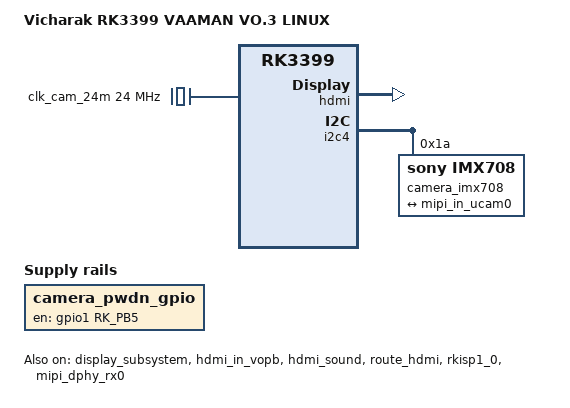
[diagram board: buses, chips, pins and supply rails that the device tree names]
// SPDX-License-Identifier: (GPL-2.0+ OR MIT)
/*
 * Copyright (C) 2023 Vicharak Computers LLP
 */

/dts-v1/;

#include "rk3399-vaaman.dtsi"
#include "rk3399-linux.dtsi"

/ {
	model = "Vicharak RK3399 VAAMAN VO.3 LINUX";
	compatible = "vicharak,rk3399-vaaman", "rockchip,rk3399";

	//chosen {
	//	bootargs = "earlycon=uart8250,mmio32,0xff1a0000 console=ttyFIQ0 earlyprintk loglevel=7 coherent_pool=1m";
	//};

	clk_cam_24m: clk-cam-24m {
		compatible = "fixed-clock";
		clock-frequency = <24000000>;
		clock-output-names = "inclk";
		#clock-cells = <0>;
		status = "okay";
	};

	camera_pwdn_gpio: camera-pwdn-gpio {
		status = "okay";
		compatible = "regulator-fixed";
		regulator-name = "camera_pwdn_gpio";
		regulator-always-on;
		regulator-boot-on;
		enable-active-high;
		gpio = <&gpio1 RK_PB5 GPIO_ACTIVE_HIGH>;
		pinctrl-names = "default";
		pinctrl-0 = <&cam_pwdn_gpio>;
	};
};

&display_subsystem {
	status = "okay";
};

&fiq_debugger {
	rockchip,irq-mode-enable = <0>;
};

&uart2 {
	status = "disabled";
};

&hdmi {
	status = "okay";
};

&hdmi_in_vopb {
	status = "okay";
};

&hdmi_in_vopl {
	status = "disabled";
};

&hdmi_sound {
	status = "okay";
};

&route_hdmi {
	connect = <&vopb_out_hdmi>;
	status = "okay";
};

&rkisp1_0 {
	status = "okay";

	port {
		isp0_mipi_in: endpoint {
			remote-endpoint = <&dphy_rx0_out>;
		};
	};
};

&isp0_mmu {
	status = "okay";
};

&mipi_dphy_rx0 {
	status = "okay";

	ports {
		#address-cells = <1>;
		#size-cells = <0>;

		port@0 {
			reg = <0>;

			mipi_in_ucam0: endpoint {
				remote-endpoint = <&ucam_out0>;
				data-lanes = <1 2>;
			};
		};

		port@1 {
			reg = <1>;

			dphy_rx0_out: endpoint {
				remote-endpoint = <&isp0_mipi_in>;
			};
		};
	};
};

&i2c4 {
	status = "okay";
	#address-cells = <1>;
	#size-cells = <0>;

	camera_imx708: camera-imx708@1a {
		status = "okay";
		compatible = "sony,imx708";
		reg = <0x1a>;
		clocks = <&clk_cam_24m>;
		clock-names = "inclk";
		rockchip,camera-module-index = <0>;
		rockchip,camera-module-facing = "back";
		rockchip,camera-module-name = "arducam-imx708";
		rockchip,camera-module-lens-name = "hdr";
		rockchip,camera-hdr-mode = <6>;

		port {
			ucam_out0: endpoint {
				remote-endpoint = <&mipi_in_ucam0>;
				data-lanes = <1 2>;
				link-frequencies = /bits/ 64 <450000000>;
			};
		};
	};
};

&pinctrl {
	camera {
		cam_pwdn_gpio: cam-pwdn-gpio {
			rockchip,pins =
				<1 RK_PB5 RK_FUNC_GPIO &pcfg_pull_up>;
		};
	};
};
